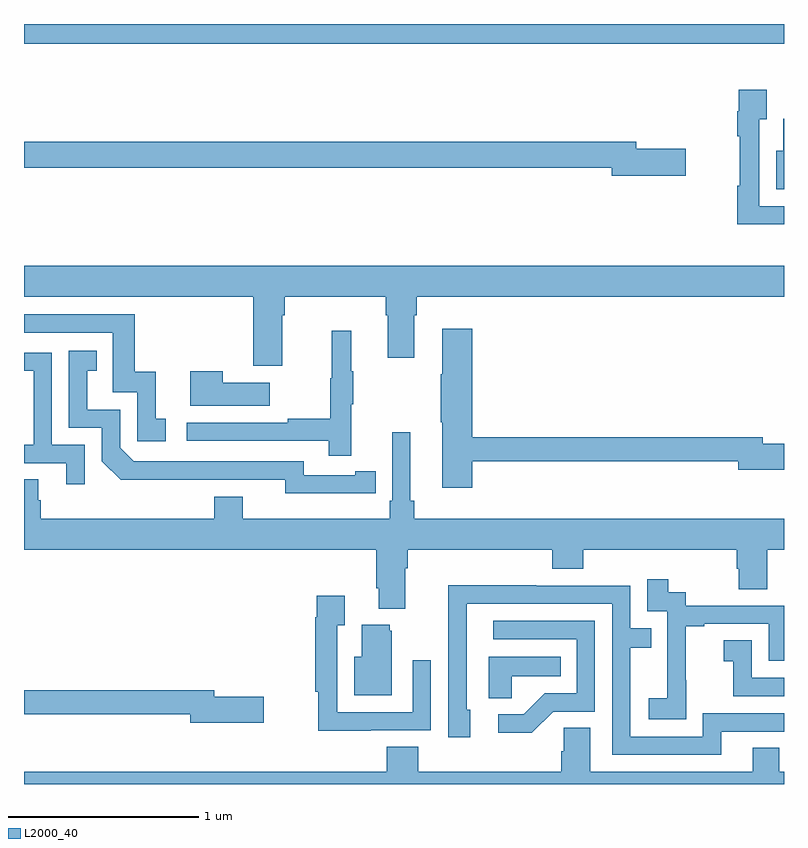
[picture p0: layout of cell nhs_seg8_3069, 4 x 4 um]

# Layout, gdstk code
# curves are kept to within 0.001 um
import gdstk
lib = gdstk.Library(unit=1e-6, precision=1e-09)
def R(c, l, rs):  # rectangles x0, y0, x1, y1
    for r in rs: c.add(gdstk.rectangle(r[:2], r[2:], *l))
def P(c, l, *ps):  # polygons
    for p in ps: c.add(gdstk.Polygon(p, *l))
L2000_40 = (2000, 40)

nhs_seg8_3069 = lib.new_cell('nhs_seg8_3069')
R(nhs_seg8_3069, L2000_40, [(301,1153.796,305,1153.9)])
P(nhs_seg8_3069, L2000_40, [(305,1152.942),(304.869,1152.942),(304.869,1153.399),(304.909,1153.399),(304.909,1153.555),(304.761,1153.555),(304.761,1153.442),(304.753,1153.442),(304.753,1153.31),(304.768,1153.31),(304.768,1153.049),(304.753,1153.049),(304.753,1152.845),(305,1152.845)],
  [(305,1153.402),(304.997,1153.402),(304.997,1153.234),(304.958,1153.234),(304.958,1153.031),(305,1153.031)],
  [(304.483,1153.244),(304.222,1153.244),(304.222,1153.28),(301,1153.28),(301,1153.144),(304.094,1153.144),(304.094,1153.102),(304.483,1153.102)],
  [(302.359,1152.368),(302.372,1152.368),(302.372,1152.464),(302.903,1152.464),(302.903,1152.368),(302.915,1152.368),(302.915,1152.144),(303.055,1152.144),(303.055,1152.368),(303.068,1152.368),(303.068,1152.464),(305,1152.464),(305,1152.628),(301,1152.628),(301,1152.464),(302.207,1152.464),(302.207,1152.102),(302.359,1152.102)],
  [(301.747,1151.823),(301.694,1151.823),(301.694,1152.07),(301.583,1152.07),(301.583,1152.372),(301,1152.372),(301,1152.276),(301.467,1152.276),(301.467,1151.961),(301.596,1151.961),(301.596,1151.703),(301.747,1151.703)],
  [(303.359,1151.598),(304.76,1151.598),(304.76,1151.555),(305,1151.555),(305,1151.69),(304.888,1151.69),(304.888,1151.726),(303.359,1151.726),(303.359,1152.295),(303.2,1152.295),(303.2,1152.056),(303.193,1152.056),(303.193,1151.803),(303.2,1151.803),(303.2,1151.46),(303.359,1151.46)],
  [(302.723,1151.899),(302.734,1151.899),(302.734,1152.073),(302.723,1152.073),(302.723,1152.286),(302.62,1152.286),(302.62,1152.036),(302.613,1152.036),(302.613,1151.822),(302.389,1151.822),(302.389,1151.802),(301.857,1151.802),(301.857,1151.706),(302.605,1151.706),(302.605,1151.628),(302.723,1151.628)],
  [(302.744,1151.43),(302.852,1151.43),(302.852,1151.546),(302.744,1151.546),(302.744,1151.526),(302.472,1151.526),(302.472,1151.598),(301.578,1151.598),(301.506,1151.67),(301.506,1151.871),(301.333,1151.871),(301.333,1152.075),(301.382,1152.075),(301.382,1152.181),(301.236,1152.181),(301.236,1151.775),(301.41,1151.775),(301.41,1151.598),(301.508,1151.501),(302.376,1151.502),(302.376,1151.429)],
  [(301.32,1151.685),(301.146,1151.685),(301.146,1152.171),(301,1152.171),(301,1152.074),(301.05,1152.074),(301.05,1151.685),(301,1151.685),(301,1151.589),(301.223,1151.589),(301.223,1151.478),(301.32,1151.478)],
  [(302.293,1152.013),(302.045,1152.013),(302.045,1152.073),(301.874,1152.073),(301.874,1151.891),(302.293,1151.891)],
  [(303.007,1151.036),(303.02,1151.036),(303.02,1151.132),(303.779,1151.132),(303.779,1151.033),(303.944,1151.033),(303.944,1151.132),(304.751,1151.132),(304.751,1151.034),(304.763,1151.034),(304.763,1150.924),(304.911,1150.924),(304.911,1151.132),(305,1151.132),(305,1151.296),(303.053,1151.296),(303.053,1151.392),(303.034,1151.392),(303.034,1151.752),(302.937,1151.752),(302.937,1151.392),(302.924,1151.392),(302.924,1151.296),(302.152,1151.296),(302.152,1151.413),(302,1151.413),(302,1151.296),(301.088,1151.296),(301.088,1151.394),(301.075,1151.394),(301.075,1151.504),(301,1151.504),(301,1151.132),(302.855,1151.132),(302.855,1150.93),(302.867,1150.93),(302.867,1150.823),(303.007,1150.823)],
  [(304.485,1150.447),(304.484,1150.447),(304.484,1150.731),(304.579,1150.731),(304.579,1150.743),(304.92,1150.743),(304.92,1150.548),(305,1150.548),(305,1150.839),(304.482,1150.839),(304.482,1150.908),(304.39,1150.908),(304.39,1150.978),(304.281,1150.978),(304.281,1150.809),(304.386,1150.809),(304.386,1150.58),(304.385,1150.58),(304.385,1150.351),(304.287,1150.351),(304.287,1150.241),(304.485,1150.241)],
  [(304.669,1150.176),(305,1150.176),(305,1150.272),(304.572,1150.272),(304.572,1150.149),(304.191,1150.149),(304.191,1150.618),(304.301,1150.618),(304.301,1150.719),(304.191,1150.719),(304.191,1150.944),(303.695,1150.944),(303.695,1150.946),(303.232,1150.946),(303.232,1150.639),(303.234,1150.639),(303.234,1150.146),(303.349,1150.146),(303.349,1150.29),(303.33,1150.29),(303.33,1150.848),(304.095,1150.848),(304.095,1150.053),(304.669,1150.053)],
  [(302.825,1150.182),(303.141,1150.182),(303.141,1150.552),(303.045,1150.552),(303.045,1150.278),(302.649,1150.278),(302.649,1150.735),(302.689,1150.735),(302.689,1150.891),(302.541,1150.891),(302.541,1150.778),(302.533,1150.778),(302.533,1150.385),(302.548,1150.385),(302.548,1150.181),(302.825,1150.181)],
  [(303.786,1150.281),(304.005,1150.281),(304.005,1150.758),(303.471,1150.758),(303.471,1150.662),(303.909,1150.662),(303.909,1150.377),(303.74,1150.377),(303.629,1150.266),(303.495,1150.266),(303.495,1150.169),(303.673,1150.169)],
  [(302.935,1150.707),(302.924,1150.707),(302.924,1150.738),(302.777,1150.738),(302.777,1150.57),(302.738,1150.57),(302.738,1150.367),(302.935,1150.367)],
  [(305,1150.458),(304.83,1150.458),(304.83,1150.657),(304.683,1150.657),(304.683,1150.547),(304.732,1150.547),(304.732,1150.362),(305,1150.362)],
  [(303.567,1150.466),(303.824,1150.466),(303.824,1150.57),(303.446,1150.57),(303.446,1150.351),(303.567,1150.351)],
  [(302.263,1150.358),(302.002,1150.358),(302.002,1150.394),(301,1150.394),(301,1150.266),(301.874,1150.266),(301.874,1150.223),(302.263,1150.223)],
  [(305,1149.964),(304.974,1149.964),(304.974,1150.091),(304.835,1150.091),(304.835,1149.964),(303.979,1149.964),(303.979,1150.196),(303.84,1150.196),(303.84,1150.073),(303.827,1150.073),(303.827,1149.964),(303.074,1149.964),(303.074,1150.097),(302.909,1150.097),(302.909,1149.964),(301,1149.964),(301,1149.9),(305,1149.9)])

lib.write_gds('nhs_seg8_3069.gds')
